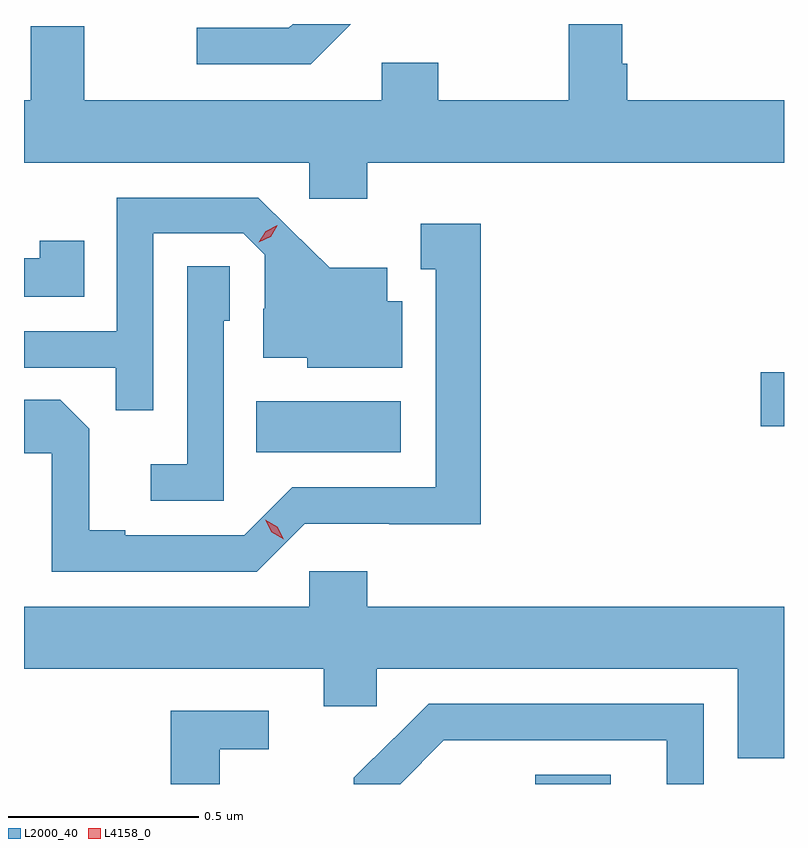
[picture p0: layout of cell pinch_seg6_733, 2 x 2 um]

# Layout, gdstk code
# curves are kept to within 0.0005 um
import gdstk
lib = gdstk.Library(unit=1e-6, precision=1e-09)
def R(c, l, rs):  # rectangles x0, y0, x1, y1
    for r in rs: c.add(gdstk.rectangle(r[:2], r[2:], *l))
def P(c, l, *ps):  # polygons
    for p in ps: c.add(gdstk.Polygon(p, *l))
L2000_40 = (2000, 40)
L4158_0 = (4158, 0)

pinch_seg6_733 = lib.new_cell('pinch_seg6_733')
R(pinch_seg6_733, L2000_40, [(615.18,941.705,615.379,941.73), (614.446,942.578,614.827,942.712), (615.774,942.646,615.835,942.788)])
P(pinch_seg6_733, L2000_40, [(614.738,943.34),(615.835,943.34),(615.835,943.504),(615.422,943.504),(615.422,943.6),(615.409,943.6),(615.409,943.705),(615.269,943.705),(615.269,943.504),(614.925,943.504),(614.925,943.603),(614.777,943.603),(614.777,943.504),(613.993,943.504),(613.993,943.699),(613.853,943.699),(613.853,943.504),(613.835,943.504),(613.835,943.34),(614.586,943.34),(614.586,943.245),(614.738,943.245)],
  [(614.695,943.705),(614.542,943.705),(614.532,943.695),(614.289,943.695),(614.289,943.599),(614.589,943.599)],
  [(614.175,943.155),(614.412,943.155),(614.469,943.098),(614.469,942.956),(614.465,942.956),(614.465,942.827),(614.58,942.827),(614.58,942.8),(614.83,942.8),(614.83,942.976),(614.791,942.976),(614.791,943.063),(614.639,943.063),(614.452,943.248),(614.079,943.248),(614.079,942.897),(613.835,942.897),(613.835,942.801),(614.077,942.801),(614.077,942.688),(614.175,942.688)],
  [(614.574,942.39),(614.796,942.39),(614.796,942.389),(615.037,942.389),(615.037,943.18),(614.879,943.18),(614.879,943.059),(614.918,943.059),(614.918,942.486),(614.541,942.486),(614.415,942.36),(614.101,942.36),(614.101,942.373),(614.007,942.373),(614.007,942.64),(613.931,942.716),(613.835,942.716),(613.835,942.576),(613.908,942.576),(613.908,942.264),(614.448,942.264)],
  [(613.994,943.135),(613.876,943.135),(613.876,943.088),(613.835,943.088),(613.835,942.987),(613.994,942.987)],
  [(614.361,942.924),(614.376,942.924),(614.376,943.067),(614.265,943.067),(614.265,942.547),(614.169,942.547),(614.169,942.45),(614.361,942.45)],
  [(615.835,942.172),(614.738,942.172),(614.738,942.265),(614.586,942.265),(614.586,942.172),(613.835,942.172),(613.835,942.008),(614.624,942.008),(614.624,941.91),(614.763,941.91),(614.763,942.008),(615.713,942.008),(615.713,941.773),(615.835,941.773)],
  [(614.94,941.82),(615.527,941.82),(615.527,941.705),(615.624,941.705),(615.624,941.916),(614.9,941.916),(614.809,941.825),(614.808,941.826),(614.703,941.721),(614.703,941.705),(614.825,941.705)],
  [(614.35,941.797),(614.479,941.797),(614.479,941.898),(614.221,941.898),(614.221,941.705),(614.35,941.705)])
P(pinch_seg6_733, L4158_0, [(614.518,942.349),(614.487,942.368),(614.47,942.401),(614.47,942.401),(614.47,942.401),(614.501,942.382),(614.518,942.349),(614.518,942.349)],
  [(614.453,943.131),(614.453,943.131),(614.471,943.16),(614.501,943.175),(614.502,943.175),(614.502,943.174),(614.484,943.145),(614.453,943.131)])

lib.write_gds('pinch_seg6_733.gds')
